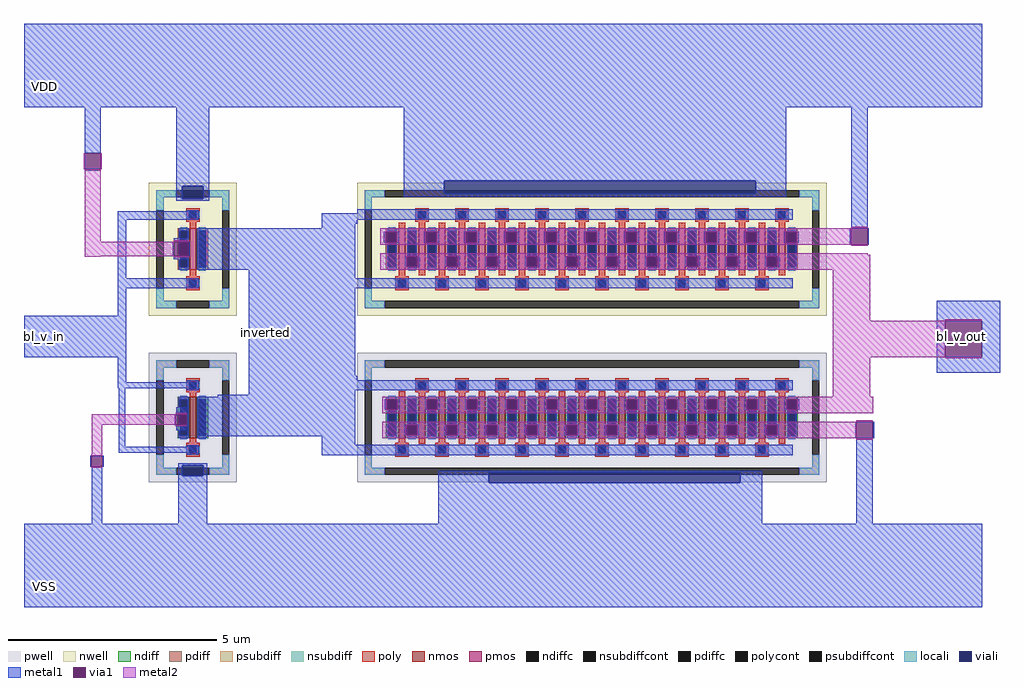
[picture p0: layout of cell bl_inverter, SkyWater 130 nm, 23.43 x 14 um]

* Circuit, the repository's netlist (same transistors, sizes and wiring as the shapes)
** sch_path: /home/ttuser/Documents/tt_bl_inverter/xschem/bl_inverter.sch
.subckt bl_inverter VDD bl_v_in bl_v_out VSS
*.PININFO VDD:B VSS:B bl_v_in:I bl_v_out:O
XM2 bl_v_1 bl_v_in VSS VSS sky130_fd_pr__nfet_01v8 L=0.15 W=1 nf=1 m=1
XM4 bl_v_out bl_v_1 VSS VSS sky130_fd_pr__nfet_01v8 L=0.15 W=20 nf=20 m=1
XM5 bl_v_1 bl_v_in VDD VDD sky130_fd_pr__pfet_01v8 L=0.15 W=1 nf=1 m=1
XM1 bl_v_out bl_v_1 VDD VDD sky130_fd_pr__pfet_01v8 L=0.15 W=20 nf=20 m=1
.ends
.end

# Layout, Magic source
magic
tech sky130A
magscale 1 2
<< pwell >>
rect 2920 -1070 4930 -1030
rect 2920 -1190 4930 -1110
<< viali >>
rect 1960 -40 2060 20
rect 3217 -15 4714 47
rect 1960 -1370 2060 -1320
rect 3432 -1403 4638 -1354
<< metal1 >>
rect 1200 400 5800 800
rect 1492 178 1568 400
rect 1492 96 1568 102
rect 1930 20 2090 400
rect 1930 -40 1960 20
rect 2060 -40 2090 20
rect 3023 47 4860 400
rect 3023 -15 3217 47
rect 4714 -15 4860 47
rect 3023 -30 4860 -15
rect 1930 -50 2090 -40
rect 1650 -140 2040 -100
rect 2800 -110 4890 -90
rect 2630 -140 4890 -110
rect 1650 -420 1690 -140
rect 2630 -160 2800 -140
rect 2630 -180 2790 -160
rect 5171 -180 5251 400
rect 1920 -245 1990 -230
rect 1914 -315 1920 -245
rect 1990 -315 1996 -245
rect 1920 -330 1990 -315
rect 2040 -380 2790 -180
rect 2928 -250 2938 -198
rect 2990 -250 3000 -198
rect 3120 -250 3130 -198
rect 3182 -250 3192 -198
rect 3312 -250 3322 -198
rect 3374 -250 3384 -198
rect 3504 -250 3514 -198
rect 3566 -250 3576 -198
rect 3696 -250 3706 -198
rect 3758 -250 3768 -198
rect 3888 -250 3898 -198
rect 3950 -250 3960 -198
rect 4080 -250 4090 -198
rect 4142 -250 4152 -198
rect 4272 -250 4282 -198
rect 4334 -250 4344 -198
rect 4464 -250 4474 -198
rect 4526 -250 4536 -198
rect 4656 -250 4666 -198
rect 4718 -250 4728 -198
rect 4848 -250 4858 -198
rect 4910 -250 4920 -198
rect 5165 -260 5171 -180
rect 5251 -260 5257 -180
rect 3028 -367 3038 -315
rect 3090 -367 3100 -315
rect 3220 -367 3230 -315
rect 3282 -367 3292 -315
rect 3412 -367 3422 -315
rect 3474 -367 3484 -315
rect 3604 -367 3614 -315
rect 3666 -367 3676 -315
rect 3796 -367 3806 -315
rect 3858 -367 3868 -315
rect 3988 -367 3998 -315
rect 4050 -367 4060 -315
rect 4180 -367 4190 -315
rect 4242 -367 4252 -315
rect 4372 -367 4382 -315
rect 4434 -367 4444 -315
rect 4564 -367 4574 -315
rect 4626 -367 4636 -315
rect 4756 -367 4766 -315
rect 4818 -367 4828 -315
rect 2280 -420 2790 -380
rect 1650 -470 2040 -420
rect 2280 -470 4890 -420
rect 1650 -600 1690 -470
rect 1200 -800 1690 -600
rect 1650 -920 1690 -800
rect 2280 -890 2790 -470
rect 5582 -625 5886 -530
rect 5582 -800 5624 -625
rect 5799 -800 5886 -625
rect 5582 -876 5886 -800
rect 2280 -910 2800 -890
rect 1650 -950 2040 -920
rect 1655 -1230 1685 -950
rect 2280 -960 4890 -910
rect 2280 -980 2790 -960
rect 2130 -990 2790 -980
rect 1930 -1074 1980 -1040
rect 1923 -1126 1929 -1074
rect 1981 -1126 1987 -1074
rect 1930 -1150 1980 -1126
rect 2040 -1180 2790 -990
rect 2931 -1053 2941 -1001
rect 2993 -1053 3003 -1001
rect 3123 -1053 3133 -1001
rect 3185 -1053 3195 -1001
rect 3315 -1053 3325 -1001
rect 3377 -1053 3387 -1001
rect 3507 -1053 3517 -1001
rect 3569 -1053 3579 -1001
rect 3699 -1053 3709 -1001
rect 3761 -1053 3771 -1001
rect 3891 -1053 3901 -1001
rect 3953 -1053 3963 -1001
rect 4083 -1053 4093 -1001
rect 4145 -1053 4155 -1001
rect 4275 -1053 4285 -1001
rect 4337 -1053 4347 -1001
rect 4467 -1053 4477 -1001
rect 4529 -1053 4539 -1001
rect 4659 -1053 4669 -1001
rect 4721 -1053 4731 -1001
rect 4851 -1053 4861 -1001
rect 4913 -1053 4923 -1001
rect 3026 -1176 3036 -1124
rect 3088 -1176 3098 -1124
rect 3218 -1176 3228 -1124
rect 3280 -1176 3290 -1124
rect 3410 -1176 3420 -1124
rect 3472 -1176 3482 -1124
rect 3602 -1176 3612 -1124
rect 3664 -1176 3674 -1124
rect 3794 -1176 3804 -1124
rect 3856 -1176 3866 -1124
rect 3986 -1176 3996 -1124
rect 4048 -1176 4058 -1124
rect 4178 -1176 4188 -1124
rect 4240 -1176 4250 -1124
rect 4370 -1176 4380 -1124
rect 4432 -1176 4442 -1124
rect 4562 -1176 4572 -1124
rect 4624 -1176 4634 -1124
rect 4754 -1176 4764 -1124
rect 4816 -1176 4826 -1124
rect 2630 -1220 2790 -1180
rect 5190 -1190 5196 -1110
rect 5276 -1190 5282 -1110
rect 1655 -1260 2040 -1230
rect 2630 -1270 4890 -1220
rect 1518 -1326 1524 -1274
rect 1576 -1326 1582 -1274
rect 1940 -1320 2080 -1310
rect 1525 -1600 1575 -1326
rect 1940 -1370 1960 -1320
rect 2060 -1370 2080 -1320
rect 1940 -1600 2080 -1370
rect 3190 -1354 4745 -1346
rect 3190 -1403 3432 -1354
rect 4638 -1403 4745 -1354
rect 3190 -1600 4745 -1403
rect 5197 -1600 5276 -1190
rect 1200 -2000 5800 -1600
<< via1 >>
rect 1492 102 1568 178
rect 1920 -315 1990 -245
rect 2938 -250 2990 -198
rect 3130 -250 3182 -198
rect 3322 -250 3374 -198
rect 3514 -250 3566 -198
rect 3706 -250 3758 -198
rect 3898 -250 3950 -198
rect 4090 -250 4142 -198
rect 4282 -250 4334 -198
rect 4474 -250 4526 -198
rect 4666 -250 4718 -198
rect 4858 -250 4910 -198
rect 5171 -260 5251 -180
rect 3038 -367 3090 -315
rect 3230 -367 3282 -315
rect 3422 -367 3474 -315
rect 3614 -367 3666 -315
rect 3806 -367 3858 -315
rect 3998 -367 4050 -315
rect 4190 -367 4242 -315
rect 4382 -367 4434 -315
rect 4574 -367 4626 -315
rect 4766 -367 4818 -315
rect 5624 -800 5799 -625
rect 1929 -1126 1981 -1074
rect 2941 -1053 2993 -1001
rect 3133 -1053 3185 -1001
rect 3325 -1053 3377 -1001
rect 3517 -1053 3569 -1001
rect 3709 -1053 3761 -1001
rect 3901 -1053 3953 -1001
rect 4093 -1053 4145 -1001
rect 4285 -1053 4337 -1001
rect 4477 -1053 4529 -1001
rect 4669 -1053 4721 -1001
rect 4861 -1053 4913 -1001
rect 3036 -1176 3088 -1124
rect 3228 -1176 3280 -1124
rect 3420 -1176 3472 -1124
rect 3612 -1176 3664 -1124
rect 3804 -1176 3856 -1124
rect 3996 -1176 4048 -1124
rect 4188 -1176 4240 -1124
rect 4380 -1176 4432 -1124
rect 4572 -1176 4624 -1124
rect 4764 -1176 4816 -1124
rect 5196 -1190 5276 -1110
rect 1524 -1326 1576 -1274
<< metal2 >>
rect 1486 102 1492 178
rect 1568 102 1574 178
rect 1492 -245 1568 102
rect 5171 -180 5251 -174
rect 2910 -198 5171 -180
rect 1920 -245 1990 -239
rect 1492 -315 1920 -245
rect 2910 -250 2938 -198
rect 2990 -250 3130 -198
rect 3182 -250 3322 -198
rect 3374 -250 3514 -198
rect 3566 -250 3706 -198
rect 3758 -250 3898 -198
rect 3950 -250 4090 -198
rect 4142 -250 4282 -198
rect 4334 -250 4474 -198
rect 4526 -250 4666 -198
rect 4718 -250 4858 -198
rect 4910 -250 5171 -198
rect 2910 -260 5171 -250
rect 5171 -266 5251 -260
rect 1492 -318 1568 -315
rect 1920 -321 1990 -315
rect 2910 -309 5252 -300
rect 2910 -315 5264 -309
rect 2910 -367 3038 -315
rect 3090 -367 3230 -315
rect 3282 -367 3422 -315
rect 3474 -367 3614 -315
rect 3666 -367 3806 -315
rect 3858 -367 3998 -315
rect 4050 -367 4190 -315
rect 4242 -367 4382 -315
rect 4434 -367 4574 -315
rect 4626 -367 4766 -315
rect 4818 -367 5264 -315
rect 2910 -380 5264 -367
rect 5084 -625 5264 -380
rect 5624 -625 5799 -619
rect 5084 -800 5624 -625
rect 5084 -990 5264 -800
rect 5624 -806 5799 -800
rect 2920 -1001 5277 -990
rect 2920 -1053 2941 -1001
rect 2993 -1053 3133 -1001
rect 3185 -1053 3325 -1001
rect 3377 -1053 3517 -1001
rect 3569 -1053 3709 -1001
rect 3761 -1053 3901 -1001
rect 3953 -1053 4093 -1001
rect 4145 -1053 4285 -1001
rect 4337 -1053 4477 -1001
rect 4529 -1053 4669 -1001
rect 4721 -1053 4861 -1001
rect 4913 -1053 5277 -1001
rect 1929 -1074 1981 -1068
rect 2920 -1070 5277 -1053
rect 1525 -1125 1929 -1075
rect 1525 -1268 1575 -1125
rect 5196 -1110 5276 -1104
rect 1929 -1132 1981 -1126
rect 2920 -1124 5196 -1110
rect 2920 -1176 3036 -1124
rect 3088 -1176 3228 -1124
rect 3280 -1176 3420 -1124
rect 3472 -1176 3612 -1124
rect 3664 -1176 3804 -1124
rect 3856 -1176 3996 -1124
rect 4048 -1176 4188 -1124
rect 4240 -1176 4380 -1124
rect 4432 -1176 4572 -1124
rect 4624 -1176 4764 -1124
rect 4816 -1176 5196 -1124
rect 2920 -1190 5196 -1176
rect 5196 -1196 5276 -1190
rect 1524 -1274 1576 -1268
rect 1524 -1332 1576 -1326
use sky130_fd_pr__nfet_01v8_YTLFGX  sky130_fd_pr__nfet_01v8_YTLFGX_0
transform 1 0 3927 0 1 -1090
box -1127 -310 1127 310
use sky130_fd_pr__pfet_01v8_8DVCWJ  XM1
transform 1 0 3927 0 1 -281
box -1127 -319 1127 319
use sky130_fd_pr__nfet_01v8_648S5X  XM2
transform 1 0 2011 0 1 -1090
box -211 -310 211 310
use sky130_fd_pr__pfet_01v8_XGS3BL  XM5
transform 1 0 2011 0 1 -281
box -211 -319 211 319
<< labels >>
flabel metal1 1200 400 1400 600 0 FreeSans 256 0 0 0 VDD
port 0 nsew
flabel metal1 1200 -800 1400 -600 0 FreeSans 256 0 0 0 bl_v_in
port 1 nsew
flabel metal1 2280 -1170 2440 -190 0 FreeSans 1600 0 0 0 inverted
flabel metal1 1200 -2000 1400 -1800 0 FreeSans 256 0 0 0 VSS
port 3 nsew
flabel metal1 5600 -800 5800 -600 0 FreeSans 256 0 0 0 bl_v_out
port 2 nsew
<< end >>

# cell sky130_fd_pr__nfet_01v8_YTLFGX: kit device sky130_fd_pr__nfet_01v8, w 1.0 l 0.15 m 1 nf 20 diffcov 100 polycov 100 guard 1 glc 1 grc 1 gtc 1 gbc 1 tbcov 100 rlcov 100 topc 1 botc 1 poverlap 0 doverlap 1 lmin 0.15 wmin 0.42 compatible {sky130_fd_pr__nfet_01v8 sky130_fd_pr__nfet_01v8_lvt sky130_fd_bs_flash__special_sonosfet_star sky130_fd_pr__nfet_g5v0d10v5 sky130_fd_pr__nfet_05v0_nvt sky130_fd_pr__nfet_03v3_nvt} full_metal 1 viasrc 100 viadrn 100 viagate 100 viagb 0 viagr 0 viagl 0 viagt 0

# cell sky130_fd_pr__pfet_01v8_8DVCWJ: kit device sky130_fd_pr__pfet_01v8, w 1.0 l 0.15 m 1 nf 20 diffcov 100 polycov 100 guard 1 glc 1 grc 1 gtc 1 gbc 1 tbcov 100 rlcov 100 topc 1 botc 1 poverlap 0 doverlap 1 lmin 0.15 wmin 0.42 compatible {sky130_fd_pr__pfet_01v8 sky130_fd_pr__pfet_01v8_lvt sky130_fd_pr__pfet_01v8_hvt sky130_fd_pr__pfet_g5v0d10v5} full_metal 1 viasrc 100 viadrn 100 viagate 100 viagb 0 viagr 0 viagl 0 viagt 0

# cell sky130_fd_pr__nfet_01v8_648S5X: kit device sky130_fd_pr__nfet_01v8, w 1.0 l 0.15 m 1 nf 1 diffcov 100 polycov 100 guard 1 glc 1 grc 1 gtc 1 gbc 1 tbcov 100 rlcov 100 topc 1 botc 1 poverlap 0 doverlap 1 lmin 0.15 wmin 0.42 compatible {sky130_fd_pr__nfet_01v8 sky130_fd_pr__nfet_01v8_lvt sky130_fd_bs_flash__special_sonosfet_star sky130_fd_pr__nfet_g5v0d10v5 sky130_fd_pr__nfet_05v0_nvt sky130_fd_pr__nfet_03v3_nvt} full_metal 1 viasrc 100 viadrn 100 viagate 100 viagb 0 viagr 0 viagl 0 viagt 0

# cell sky130_fd_pr__pfet_01v8_XGS3BL: kit device sky130_fd_pr__pfet_01v8, w 1.0 l 0.15 m 1 nf 1 diffcov 100 polycov 100 guard 1 glc 1 grc 1 gtc 1 gbc 1 tbcov 100 rlcov 100 topc 1 botc 1 poverlap 0 doverlap 1 lmin 0.15 wmin 0.42 compatible {sky130_fd_pr__pfet_01v8 sky130_fd_pr__pfet_01v8_lvt sky130_fd_pr__pfet_01v8_hvt sky130_fd_pr__pfet_g5v0d10v5} full_metal 1 viasrc 100 viadrn 100 viagate 100 viagb 0 viagr 0 viagl 0 viagt 0
